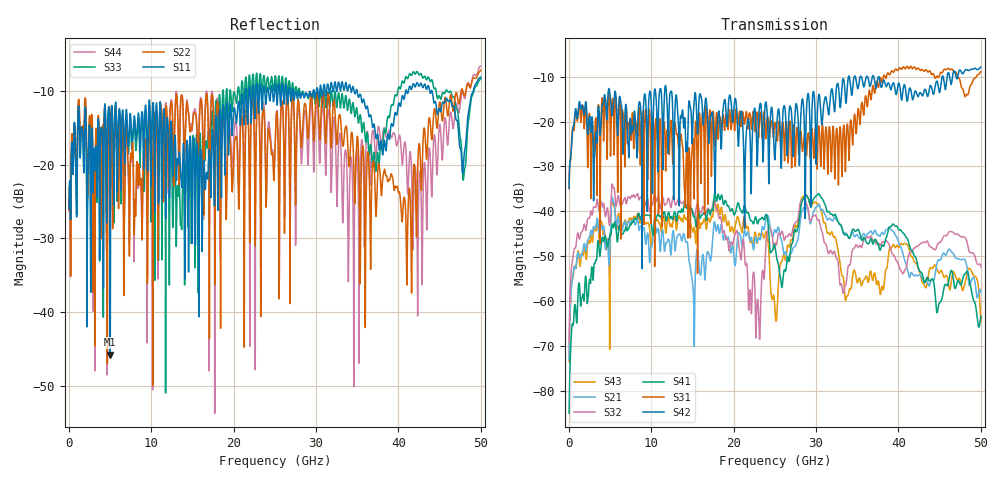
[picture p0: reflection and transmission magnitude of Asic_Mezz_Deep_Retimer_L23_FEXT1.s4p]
! Created Wed Jul  3 11:22:38 2019
# hz S ma R 50
! 4 Port Network Data from SP1.SP block
! freq  magS11  angS11  magS12  angS12  magS13  angS13  magS14  angS14
!  magS21  angS21  magS22  angS22  magS23  angS23  magS24  angS24
!  magS31  angS31  magS32  angS32  magS33  angS33  magS34  angS34
!  magS41  angS41  magS42  angS42  magS43  angS43  magS44  angS44
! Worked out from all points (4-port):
!   4996 points, 50 MHz to 50 GHz, reference 50 ohm
!   strongest paths, dB at 50 MHz, 12.54 GHz, 25.03 GHz, 37.52 GHz, 50 GHz:
!     S42: -34.9, -14.2, -28.0, -10.2, -7.9
!     S31: -35.0, -24.6, -20.2, -12.2, -8.9
!     S41: -85.0, -41.6, -47.8, -47.1, -63.4
!     S32: -69.1, -37.8, -47.0, -47.1, -52.4
!     S21: -73.0, -46.0, -44.1, -45.2, -58.0
!     S43: -73.4, -43.5, -62.2, -55.5, -64.6
!   lowest |S11| = -45.8 dB at 5.04 GHz (marker M1), VSWR 1.01, Z = 50.5 - j0.0919 ohm
!   |S11| at or under -10 dB: start of sweep to 21.44 GHz; 34.99 GHz to 40.87 GHz (5.876 GHz wide, 15.5 % of centre); 44.07 GHz to 49.08 GHz (5.009 GHz wide, 10.8 % of centre)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
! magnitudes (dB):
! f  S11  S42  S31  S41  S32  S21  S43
! 50 MHz  -26.0  -34.9  -35.0  -85.0  -69.1  -73.0  -73.4
! 5.04 GHz  -45.8  -14.6  -23.1  -45.1  -41.2  -46.1  -49.4
! 14.25 GHz  -18.5  -26.3  -28.4  -39.1  -38.6  -46.9  -41.8
! 22.94 GHz  -11.4  -25.2  -19.5  -42.7  -59.8  -46.6  -46.5
! 28.38 GHz  -10.3  -15.0  -26.6  -37.5  -37.4  -39.7  -36.8
! 40.98 GHz  -10.0  -14.7  -7.8  -45.8  -52.3  -52.2  -47.3
! 50 GHz  -8.1  -7.9  -8.9  -63.4  -52.4  -58.0  -64.6
